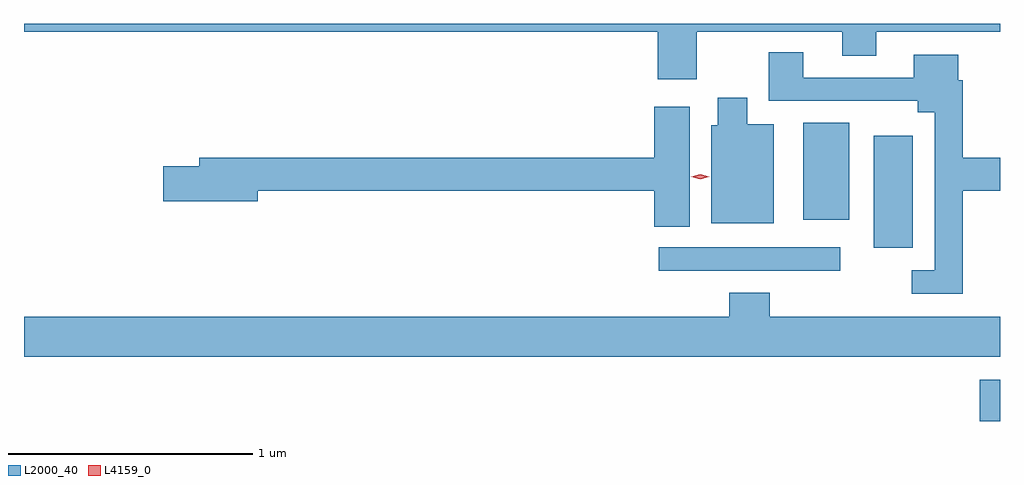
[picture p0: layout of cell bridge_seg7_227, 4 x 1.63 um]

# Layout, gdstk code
import gdstk
lib = gdstk.Library(unit=1e-6, precision=1e-09)
def R(c, l, rs):  # rectangles x0, y0, x1, y1
    for r in rs: c.add(gdstk.rectangle(r[:2], r[2:], *l))
def P(c, l, *ps):  # polygons
    for p in ps: c.add(gdstk.Polygon(p, *l))
L2000_40 = (2000, 40)
L4159_0 = (4159, 0)

bridge_seg7_227 = lib.new_cell('bridge_seg7_227')
R(bridge_seg7_227, L2000_40, [(283.014,1080.272,283.096,1080.442), (281.697,1080.888,282.442,1080.984), (282.578,1080.983,282.739,1081.441), (282.29,1081.097,282.478,1081.495)])
P(bridge_seg7_227, L2000_40, [(281.853,1081.868),(282.449,1081.868),(282.449,1081.769),(282.589,1081.769),(282.589,1081.868),(283.096,1081.868),(283.096,1081.9),(279.096,1081.9),(279.096,1081.868),(281.693,1081.868),(281.693,1081.674),(281.853,1081.674)],
  [(282.944,1081.216),(283.096,1081.216),(283.096,1081.352),(282.944,1081.352),(282.944,1081.67),(282.925,1081.67),(282.925,1081.774),(282.743,1081.774),(282.743,1081.68),(282.289,1081.68),(282.289,1081.783),(282.149,1081.783),(282.149,1081.584),(282.758,1081.584),(282.758,1081.538),(282.828,1081.538),(282.828,1080.891),(282.735,1080.891),(282.735,1080.795),(282.944,1080.795)],
  [(282.169,1081.489),(282.061,1081.489),(282.061,1081.597),(281.939,1081.597),(281.939,1081.485),(281.912,1081.485),(281.912,1081.082),(282.169,1081.082)],
  [(281.824,1081.561),(281.678,1081.561),(281.678,1081.352),(279.815,1081.352),(279.815,1081.316),(279.666,1081.316),(279.666,1081.174),(280.054,1081.174),(280.054,1081.216),(281.678,1081.216),(281.678,1081.069),(281.824,1081.069)],
  [(283.096,1080.7),(282.152,1080.7),(282.152,1080.799),(281.987,1080.799),(281.987,1080.7),(279.096,1080.7),(279.096,1080.536),(283.096,1080.536)])
P(bridge_seg7_227, L4159_0, [(281.867,1081.263),(281.83,1081.273),(281.829,1081.273),(281.83,1081.273),(281.867,1081.283),(281.905,1081.273),(281.905,1081.273),(281.905,1081.273)])

lib.write_gds('bridge_seg7_227.gds')
